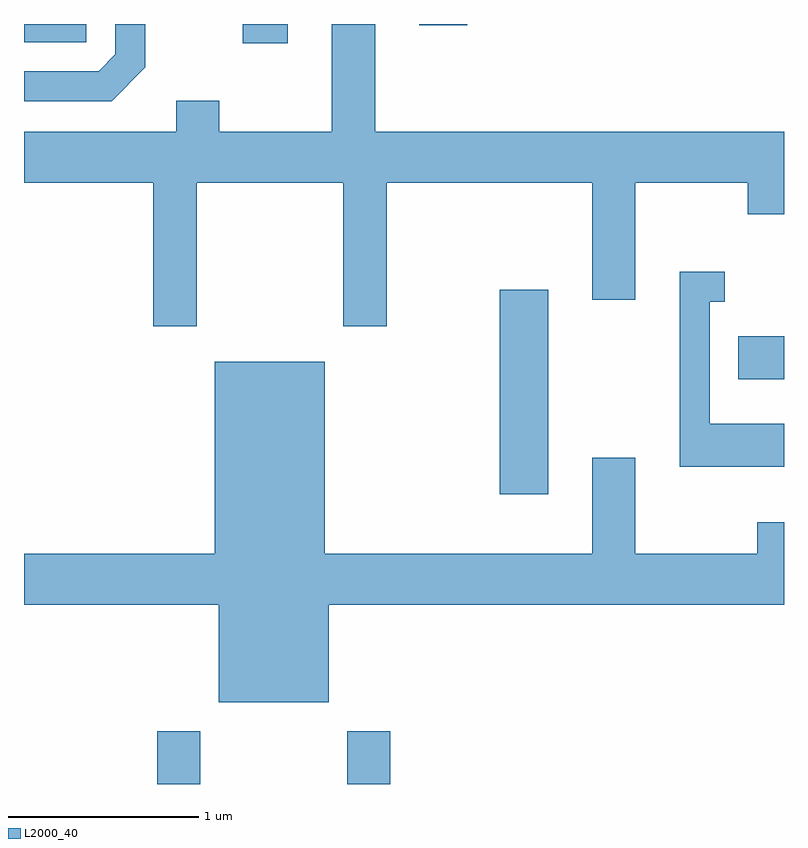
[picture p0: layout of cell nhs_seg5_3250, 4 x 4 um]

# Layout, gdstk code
import gdstk
lib = gdstk.Library(unit=1e-6, precision=1e-09)
def R(c, l, rs):  # rectangles x0, y0, x1, y1
    for r in rs: c.add(gdstk.rectangle(r[:2], r[2:], *l))
def P(c, l, *ps):  # polygons
    for p in ps: c.add(gdstk.Polygon(p, *l))
L2000_40 = (2000, 40)

nhs_seg5_3250 = lib.new_cell('nhs_seg5_3250')
R(nhs_seg5_3250, L2000_40, [(282.311,1458.072,282.539,1458.349), (283.311,1458.072,283.539,1458.349), (284.116,1459.596,284.369,1460.674), (285.371,1460.201,285.611,1460.429), (282.763,1461.971,282.999,1462.072), (281.611,1461.976,281.939,1462.072), (283.691,1462.066,283.944,1462.072)])
P(nhs_seg5_3250, L2000_40, [(282.519,1461.236),(283.291,1461.236),(283.291,1460.481),(283.519,1460.481),(283.519,1461.236),(284.601,1461.236),(284.601,1460.621),(284.829,1460.621),(284.829,1461.236),(285.421,1461.236),(285.421,1461.071),(285.611,1461.071),(285.611,1461.504),(283.459,1461.504),(283.459,1462.072),(283.231,1462.072),(283.231,1461.504),(282.639,1461.504),(282.639,1461.669),(282.411,1461.669),(282.411,1461.504),(281.611,1461.504),(281.611,1461.236),(282.291,1461.236),(282.291,1460.481),(282.519,1460.481)],
  [(282.249,1461.844),(282.249,1462.072),(282.091,1462.072),(282.091,1461.912),(282.004,1461.824),(281.611,1461.824),(281.611,1461.666),(282.072,1461.666)],
  [(285.611,1459.969),(285.219,1459.969),(285.219,1460.611),(285.298,1460.611),(285.298,1460.769),(285.061,1460.769),(285.061,1459.741),(285.611,1459.741)],
  [(283.214,1459.016),(285.611,1459.016),(285.611,1459.449),(285.471,1459.449),(285.471,1459.284),(284.829,1459.284),(284.829,1459.789),(284.601,1459.789),(284.601,1459.284),(283.194,1459.284),(283.194,1460.294),(282.616,1460.294),(282.616,1459.284),(281.611,1459.284),(281.611,1459.016),(282.636,1459.016),(282.636,1458.501),(283.214,1458.501)])

lib.write_gds('nhs_seg5_3250.gds')
